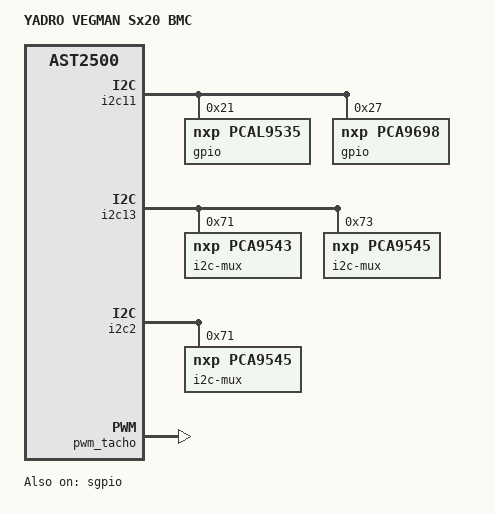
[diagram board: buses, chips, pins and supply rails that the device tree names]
// SPDX-License-Identifier: GPL-2.0+
// Copyright (C) 2021 YADRO
/dts-v1/;

#include "aspeed-bmc-vegman.dtsi"

/ {
	model = "YADRO VEGMAN Sx20 BMC";
	compatible = "yadro,vegman-sx20-bmc", "aspeed,ast2500";
};

&gpio {
	status = "okay";
	gpio-line-names =
	/*A0-A7*/	"CHASSIS_INTRUSION","CASE_OPEN_FAULT_RST","","","SPEAKER_BMC","FM_FORCE_BMC_UPDATE","","",
	/*B0-B7*/	"","","","","","","","",
	/*C0-C7*/	"","","","","","","","",
	/*D0-D7*/	"","","","","","","","",
	/*E0-E7*/	"RESET_BUTTON","RESET_OUT","POWER_BUTTON","POWER_OUT","","","","",
	/*F0-F7*/	"NMI_OUT","CPU1_DISABLE_COD","","","SKT0_FAULT_LED","SKT1_FAULT_LED","RST_RGMII_PHYRST_DNP","",
	/*G0-G7*/	"CPU_ERR2","CPU_CATERR","PCH_BMC_THERMTRIP","","IRQ_NMI_EVENT","","","",
	/*H0-H7*/	"PWRGD_P3V3_RISER1","PWRGD_P3V3_RISER2","PWRGD_P3V3_RISER3","","MIO_BIOS_SEL","_SPI_FLASH_HOLD","_SPI_FLASH_WP","FM_240VA_STATUS",
	/*I0-I7*/	"","","","","","","","",
	/*J0-J7*/	"","","","","","","","",
	/*K0-K7*/	"","","","","","","","",
	/*L0-L7*/	"","","","","","","","",
	/*M0-M7*/	"","","","","BMC_GPU_RISER_ID1","BMC_GPU_RISER_ID0","","",
	/*N0-N7*/	"","","","","","","","",
	/*O0-O7*/	"","","","","","","","_SPI2_BMC_CS_SEL",
	/*P0-P7*/	"","P12V_HDDS_A_EN","P12V_HDDS_B_EN","P5V_HDDS_A_EN","PWRGD_P5V_HDDS_A","P5V_HDDS_B_EN","PWRGD_P5V_HDDS_B","",
	/*Q0-Q7*/	"","","","","","","","",
	/*R0-R7*/	"_SPI_RMM4_LITE_CS","","","","","","","",
	/*S0-S7*/	"_SPI2_BMC_CS1","","","IRQ_SML0_ALERT_MUX","FP_LED_STATUS_GREEN","FP_LED_STATUS_AMBER","FP_ID_LED","",
	/*T0-T7*/	"","","","","","","","",
	/*U0-U7*/	"","","","","","","","",
	/*V0-V7*/	"","","","","","","","",
	/*W0-W7*/	"","","","","","","","",
	/*X0-X7*/	"","","","","","","","",
	/*Y0-Y7*/	"SIO_S3","SIO_S5","","SIO_ONCONTROL","","","","",
	/*Z0-Z7*/	"FM_BMC_PWR_BTN","SIO_POWER_GOOD","FM_BMC_PWRBTN_OUT","FM_BMC_PCH_SCI_LPC","","","","",
	/*AA0-AA7*/	"CPU_CLK_MUX_SEL","IRQ_SML1_PMBUS_ALERT","FM_PVCCIN_CPU0_PWR_IN_ALERT","FM_PVCCIN_CPU1_PWR_IN_ALERT","BMC_SYS_PWR_FAULT","BMC_SYS_PWR_OK","SMI","POST_COMPLETE",
	/*AB0-AB7*/	"FM_CPU_BMCINIT","NMI_BUTTON","ID_BUTTON","PS_PWROK","","","","",
	/*AC0-AC7*/	"","","","","","","","";
};

&sgpio {
	ngpios = <80>;
	bus-frequency = <2000000>;
	status = "okay";
	/* SGPIO lines. even: input, odd: output */
	gpio-line-names =
	/*A0-A7*/	"CPU1_PRESENCE","","CPU1_THERMTRIP","","CPU1_VRHOT","","CPU1_FIVR_FAULT","","CPU1_MEM_ABCD_VRHOT","","CPU1_MEM_EFGH_VRHOT","","","","","",
	/*B0-B7*/	"CPU1_MISMATCH","","CPU1_MEM_THERM_EVENT","","CPU2_PRESENCE","","CPU2_THERMTRIP","","CPU2_VRHOT","","CPU2_FIVR_FAULT","","CPU2_MEM_ABCD_VRHOT","","CPU2_MEM_EFGH_VRHOT","",
	/*C0-C7*/	"","","","","CPU2_MISMATCH","","CPU2_MEM_THERM_EVENT","","","","","","","","","",
	/*D0-D7*/	"","","","","","","","","","","","","","","","",
	/*E0-E7*/	"","","","","","","","","","","","","","","","",
	/*F0-F7*/	"SGPIO_PLD_MINOR_REV_BIT0","","SGPIO_PLD_MINOR_REV_BIT1","","SGPIO_PLD_MINOR_REV_BIT2","","SGPIO_PLD_MINOR_REV_BIT3","","SGPIO_PLD_MAJOR_REV_BIT0","","SGPIO_PLD_MAJOR_REV_BIT1","","SGPIO_PLD_MAJOR_REV_BIT2","","SGPIO_PLD_MAJOR_REV_BIT3","",
	/*G0-G7*/	"MAIN_PLD_MINOR_REV_BIT0","","MAIN_PLD_MINOR_REV_BIT1","","MAIN_PLD_MINOR_REV_BIT2","","MAIN_PLD_MINOR_REV_BIT3","","MAIN_PLD_MAJOR_REV_BIT0","","MAIN_PLD_MAJOR_REV_BIT1","","MAIN_PLD_MAJOR_REV_BIT2","","MAIN_PLD_MAJOR_REV_BIT3","",
	/*H0-H7*/	"","","","","","","","","","","","","","","","",
	/*I0-I7*/	"","","","","","","","","","","","","","","","",
	/*J0-J7*/	"","","","","","","","","","","","","","","","";
};

&i2c11 {
	/* SMB_BMC_MGMT_LVC3 */
	gpio@21 {
		compatible = "nxp,pcal9535";
		reg = <0x21>;
		gpio-controller;
		#gpio-cells = <2>;
		gpio-line-names =
		/*IO0.0-0.7*/	"", "", "CPU1_PE3_0_SLOT_PRSNT", "", "CPU1_PE1_GPU_PRSNT", "CPU1_PE3_1_SLOT_PRSNT", "PE_PCH_MEZ_PRSNT", "CPU0_PE3_1_SLOT_PRSNT",
		/*IO1.0-1.7*/	"CPU0_PE1_GPU_PRSNT", "CPU0_PE2_NVME2_PRSNT", "CPU1_PE2_NVME3_PRSNT", "CPU1_PE2_SLOT_PRSNT", "CPU1_PE2_NVME4_PRSNT", "", "CPU0_PE2_NVME1_PRSNT", "CPU0_PE3_0_RAID_PRSNT";
	};
	gpio@27 {
		compatible = "nxp,pca9698";
		reg = <0x27>;
		gpio-controller;
		#gpio-cells = <2>;
		gpio-line-names =
		/*IO0.0-0.7*/	"PWRGD_PS_PWROK", "PWRGD_DSW_PWROK", "PWRGD_P5V_AUX", "PWRGD_P3V3_AUX", "PWRGD_P5V", "PWRGD_P3V3", "PWRGD_P1V8_PCH_AUX", "PWRGD_PCH_PVNN_AUX",
		/*IO1.0-1.7*/	"PWRGD_P1V05_PCH_AUX", "PWRGD_PCH_AUX_VRS", "PWRGD_PVCCIN_CPU0", "PWRGD_PVCCSA_CPU0", "PWRGD_PVCCIO_CPU0", "PWRGD_PVMCP_CPU0", "PWRGD_P1V0_CPU0", "PWRGD_PVDDQ_ABC_CPU0",
		/*IO2.0-2.7*/	"PWRGD_PVPP_ABC_CPU0", "PWRGD_PVTT_ABC_CPU0", "PWRGD_PVDDQ_DEF_CPU0", "PWRGD_PVPP_DEF_CPU0", "PWRGD_PVTT_DEF_CPU0", "PWRGD_PVCCIN_CPU1", "PWRGD_PVCCSA_CPU1", "PWRGD_PVCCIO_CPU1",
		/*IO3.0-3.7*/	"PWRGD_PVMCP_CPU1", "PWRGD_P1V0_CPU1", "PWRGD_PVDDQ_GHJ_CPU1", "PWRGD_PVPP_GHJ_CPU1", "PWRGD_PVTT_GHJ_CPU1", "PWRGD_PVDDQ_KLM_CPU1", "PWRGD_PVPP_KLM_CPU1", "PWRGD_PVTT_KLM_CPU1",
		/*IO4.0-4.7*/	"PWRGD_P5V_HDDS_A_R", "PWRGD_P5V_HDDS_B_R", "", "", "", "", "", "";
	};
};

&i2c13 {
	/* SMB_PCIE2_STBY_LVC3 */
	i2c-mux@71 {
		compatible = "nxp,pca9543";
		reg = <0x71>;
		#address-cells = <1>;
		#size-cells = <0>;
		i2c-mux-idle-disconnect;
	};
	i2c-mux@73 {
		compatible = "nxp,pca9545";
		reg = <0x73>;
		#address-cells = <1>;
		#size-cells = <0>;
		i2c-mux-idle-disconnect;
	};
};

&i2c2 {
	/* SMB_PCIE_STBY_LVC3 */
	i2c-mux@71 {
		compatible = "nxp,pca9545";
		reg = <0x71>;
		#address-cells = <1>;
		#size-cells = <0>;
		i2c-mux-idle-disconnect;
	};
};

&pwm_tacho {
	status = "okay";
	pinctrl-names = "default";
	pinctrl-0 = <&pinctrl_pwm0_default &pinctrl_pwm1_default
			 &pinctrl_pwm2_default &pinctrl_pwm3_default
			 &pinctrl_pwm4_default &pinctrl_pwm5_default
			 &pinctrl_pwm6_default>;

	fan@0 {
		reg = <0x00>;
		aspeed,fan-tach-ch = /bits/ 8 <0x00>;
	};
	fan@1 {
		reg = <0x01>;
		aspeed,fan-tach-ch = /bits/ 8 <0x01>;
	};
	fan@2 {
		reg = <0x02>;
		aspeed,fan-tach-ch = /bits/ 8 <0x02>;
	};
	fan@3 {
		reg = <0x03>;
		aspeed,fan-tach-ch = /bits/ 8 <0x03>;
	};
	fan@4 {
		reg = <0x04>;
		aspeed,fan-tach-ch = /bits/ 8 <0x04>;
	};
	fan@5 {
		reg = <0x05>;
		aspeed,fan-tach-ch = /bits/ 8 <0x05>;
	};
	fan@6 {
		reg = <0x06>;
		aspeed,fan-tach-ch = /bits/ 8 <0x06>;
	};
};
